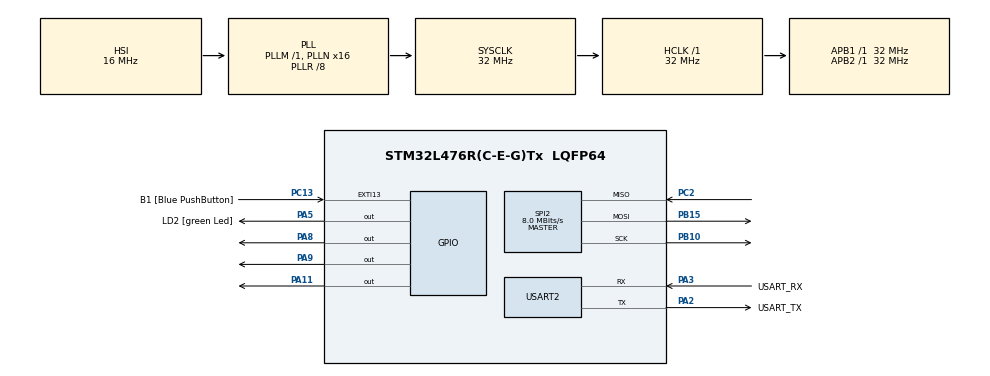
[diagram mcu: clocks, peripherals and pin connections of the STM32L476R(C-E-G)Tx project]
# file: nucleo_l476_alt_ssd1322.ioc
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Mcu.Family=STM32L4
Mcu.Name=STM32L476R(C-E-G)Tx
Mcu.Package=LQFP64
NVIC.PriorityGroup=NVIC_PRIORITYGROUP_4
NVIC.SPI2_IRQn=true\:4\:0\:true\:false\:true\:true\:true\:true
NVIC.TIM1_UP_TIM16_IRQn=true\:15\:0\:false\:false\:true\:false\:true\:true
NVIC.TimeBase=TIM1_UP_TIM16_IRQn
NVIC.TimeBaseIP=TIM16
PA11.Signal=GPIO_Output
PA13\ (JTMS-SWDIO).GPIO_Label=TMS
PA13\ (JTMS-SWDIO).Mode=Serial_Wire
PA13\ (JTMS-SWDIO).Signal=SYS_JTMS-SWDIO
PA14\ (JTCK-SWCLK).GPIO_Label=TCK
PA14\ (JTCK-SWCLK).Mode=Serial_Wire
PA14\ (JTCK-SWCLK).Signal=SYS_JTCK-SWCLK
PA2.GPIO_Label=USART_TX
PA2.GPIO_Mode=GPIO_MODE_AF_PP
PA2.GPIO_PuPd=GPIO_NOPULL
PA2.GPIO_Speed=GPIO_SPEED_FREQ_VERY_HIGH
PA2.Mode=Asynchronous
PA2.Signal=USART2_TX
PA3.GPIO_Label=USART_RX
PA3.GPIO_Mode=GPIO_MODE_AF_PP
PA3.GPIO_PuPd=GPIO_NOPULL
PA3.GPIO_Speed=GPIO_SPEED_FREQ_VERY_HIGH
PA3.Mode=Asynchronous
PA3.Signal=USART2_RX
PA5.GPIO_Label=LD2 [green Led]
PA5.GPIO_ModeDefaultOutputPP=GPIO_MODE_OUTPUT_PP
PA5.GPIO_PuPd=GPIO_NOPULL
PA5.GPIO_Speed=GPIO_SPEED_FREQ_LOW
PA5.Signal=GPIO_Output
PA8.Signal=GPIO_Output
PA9.Signal=GPIO_Output
PB10.Mode=Full_Duplex_Master
PB10.Signal=SPI2_SCK
PB15.Mode=Full_Duplex_Master
PB15.Signal=SPI2_MOSI
PB3\ (JTDO-TRACESWO).GPIO_Label=SWO
PB3\ (JTDO-TRACESWO).Signal=SYS_JTDO-SWO
PC13.GPIO_Label=B1 [Blue PushButton]
PC13.GPIO_ModeDefaultEXTI=GPIO_MODE_IT_FALLING
PC13.GPIO_PuPd=GPIO_NOPULL
PC13.Signal=GPXTI13
PC14-OSC32_IN\ (PC14).Mode=LSE-External-Oscillator
PC14-OSC32_IN\ (PC14).Signal=RCC_OSC32_IN
PC15-OSC32_OUT\ (PC15).Mode=LSE-External-Oscillator
PC15-OSC32_OUT\ (PC15).Signal=RCC_OSC32_OUT
PC2.Mode=Full_Duplex_Master
PC2.Signal=SPI2_MISO
PH0-OSC_IN\ (PH0).Signal=RCC_OSC_IN
PH1-OSC_OUT\ (PH1).Signal=RCC_OSC_OUT
ProjectManager.HeapSize=0x200
ProjectManager.StackSize=0x400
ProjectManager.TargetToolchain=STM32CubeIDE
RCC.ADCFreq_Value=64000000
RCC.AHBFreq_Value=32000000
RCC.APB1Freq_Value=32000000
RCC.APB1TimFreq_Value=32000000
RCC.APB2Freq_Value=32000000
RCC.APB2TimFreq_Value=32000000
RCC.CortexFreq_Value=32000000
RCC.HCLKFreq_Value=32000000
RCC.HSE_VALUE=8000000
RCC.HSI_VALUE=16000000
RCC.MSI_VALUE=4000000
RCC.PLLN=16
RCC.PLLR=RCC_PLLR_DIV8
RCC.PLLSourceVirtual=RCC_PLLSOURCE_HSI
RCC.PREFETCH_ENABLE=1
RCC.SYSCLKFreq_VALUE=32000000
RCC.SYSCLKSource=RCC_SYSCLKSOURCE_PLLCLK
RCC.USBFreq_Value=64000000
RCC.VCOOutputFreq_Value=256000000
SPI2.BaudRatePrescaler=SPI_BAUDRATEPRESCALER_4
SPI2.CalculateBaudRate=8.0 MBits/s
SPI2.DataSize=SPI_DATASIZE_8BIT
SPI2.Direction=SPI_DIRECTION_2LINES
SPI2.Mode=SPI_MODE_MASTER
SPI2.NSSPMode=SPI_NSS_PULSE_DISABLE
SPI2.VirtualType=VM_MASTER
USART2.VirtualMode-Asynchronous=VM_ASYNC
VP_SYS_VS_tim16.Mode=TIM16
board=NUCLEO-L476RG

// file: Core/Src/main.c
/* USER CODE BEGIN Header */
/**
  ******************************************************************************
  * @file           : main.c
  * @brief          : Main program body
  ******************************************************************************
  * @attention
  *
  * Copyright (c) 2022 STMicroelectronics.
  * All rights reserved.
  *
  * This software is licensed under terms that can be found in the LICENSE file
  * in the root directory of this software component.
  * If no LICENSE file comes with this software, it is provided AS-IS.
  *
  ******************************************************************************
  */
/* USER CODE END Header */
#include "main.h"

/* USER CODE BEGIN Includes */
#include "SSD1322_OLED_lib/SSD1322_HW_Driver.h"
#include "SSD1322_OLED_lib/SSD1322_API.h"
#include "SSD1322_OLED_lib/SSD1322_GFX.h"

#include "SSD1322_OLED_lib/Fonts/FreeMono12pt7b.h"
#include "SSD1322_OLED_lib/Fonts/FreeSansOblique9pt7b.h"

#include "tom_and_jerry.h"
#include "creeper.h"
#include "krecik.h"
#include "pat_i_mat.h"
#include "stars_4bpp.h"
/* USER CODE END Includes */

 SPI_HandleTypeDef hspi2;

UART_HandleTypeDef huart2;

/* USER CODE BEGIN PV */

volatile uint8_t OLED_SPI_TX_completed_flag = 1;
extern TaskHandle_t  oled_task;
uint8_t tx_buf[256 * 64 / 2];
uint8_t tx_buf2[256*256 / 2];
/* USER CODE END PV */

void SystemClock_Config(void);
static void MX_GPIO_Init(void);
static void MX_USART2_UART_Init(void);
static void MX_SPI2_Init(void);

/* USER CODE BEGIN 0 */

void oled_test_task(void* par){
//	vTaskDelay(2000/portTICK_PERIOD_MS);
	for(;;){
		//Set frame buffer size in pixels - it is used to avoid writing to memory outside frame buffer
		//Normally it has to only be done once on initialization, but buffer size is changed near the end of while(1);.
		set_buffer_size(256, 64);
		// Fill buffer with zeros to clear any garbage values
		fill_buffer(tx_buf, 0);

		// send a frame buffer to the display
		send_buffer_to_OLED(tx_buf, 0, 0);
		SSD1322_HW_msDelay(2000);

		// Let's try some features of this OLED display

		// First, draw some pixels on frame buffer
		// draw_pixel(frame_buffer, x, y, brightness);
		draw_pixel(tx_buf, 10, 10, 1);
		draw_pixel(tx_buf, 15, 15, 5);
		draw_pixel(tx_buf, 20, 20, 9);
		draw_pixel(tx_buf, 25, 25, 15);

		// send a frame buffer to the display
		send_buffer_to_OLED(tx_buf, 0, 0);
		SSD1322_HW_msDelay(2000);

		// draw vertical and horizontal lines
		draw_hline(tx_buf, 31, 20, 50, 10);
		draw_vline(tx_buf, 31, 0, 31, 10);

		// send a frame buffer to the display
		send_buffer_to_OLED(tx_buf, 0, 0);
		SSD1322_HW_msDelay(2000);

		// draw simple oblique line
		draw_line(tx_buf, 40, 0, 80, 31, 12);
		// send a frame buffer to the display
		send_buffer_to_OLED(tx_buf, 0, 0);
		SSD1322_HW_msDelay(2000);

		// draw antialiased oblique line. It should appear softer and nicer than a simple one
		draw_AA_line(tx_buf, 50, 0, 90, 31, 12);
		// send a frame buffer to the display
		send_buffer_to_OLED(tx_buf, 0, 0);
		SSD1322_HW_msDelay(2000);

		//draw circle, empty rectangle and filled rectangle
		draw_circle(tx_buf, 180, 20, 20, 15);
		draw_rect(tx_buf, 100, 5, 120, 25, 15);
		draw_rect_filled(tx_buf, 124, 5, 144, 25, 8);
		// send a frame buffer to the display
		send_buffer_to_OLED(tx_buf, 0, 0);
		SSD1322_HW_msDelay(2000);

		//clean buffer
		fill_buffer(tx_buf, 0);

		//display 8-bit grayscale bitmap (ony first 4 bits are actually written to memory)
		draw_bitmap_8bpp(tx_buf, pat_i_mat, 0, 0, 64, 64);
		draw_bitmap_8bpp(tx_buf, krecik, 128, 0, 64, 64);
		// send a frame buffer to the display
		send_buffer_to_OLED(tx_buf, 0, 0);
		SSD1322_HW_msDelay(5000);

		//display 4-bit grayscale bitmap (one byte in bitmap array corresponds to two pixels)
		draw_bitmap_4bpp(tx_buf, stars_4bpp, 0, 0, 256, 64);
		send_buffer_to_OLED(tx_buf, 0, 0);
		SSD1322_HW_msDelay(3000);

		//you can invert screen colors using API function
		SSD1322_API_set_display_mode(SSD1322_MODE_INVERTED);
		SSD1322_HW_msDelay(2000);
		//pixels can be also turned on or off
		SSD1322_API_set_display_mode(SSD1322_MODE_ON);
		SSD1322_HW_msDelay(1000);
		SSD1322_API_set_display_mode(SSD1322_MODE_OFF);
		SSD1322_HW_msDelay(1000);
		//ok, go back to normal
		SSD1322_API_set_display_mode(SSD1322_MODE_NORMAL);
		SSD1322_HW_msDelay(500);

		//exact grayscale values can be set individually for each level from 0 to 15 - always send 16 byte array of values 0-180
		uint8_t grayscale_tab[16] = {0, 5, 10, 15, 20, 25, 30, 35, 145, 150, 155, 160, 165, 170, 175, 180};
		SSD1322_API_custom_grayscale(grayscale_tab);
		SSD1322_HW_msDelay(2000);
		//New grayscale values should be close to black in darker areas and close to white in brighter

		//reset grayscale to default linear values
		SSD1322_API_default_grayscale();
		SSD1322_HW_msDelay(2000);

		//display can be set to sleep mode and then woken up
		SSD1322_API_sleep_on();
		SSD1322_HW_msDelay(1000);
		SSD1322_API_sleep_off();

		//clean buffer
		fill_buffer(tx_buf, 0);

		// now let's try to write some text with a font
		// first thing to do is font selection
		select_font(&FreeMono12pt7b);
		// now text will we written with that font
		draw_text(tx_buf, "Lorem ipsum", 10, 20, 15);
		// send a frame buffer to the display
		send_buffer_to_OLED(tx_buf, 0, 0);
		SSD1322_HW_msDelay(2000);

		//change font to a differen one
		select_font(&FreeSansOblique9pt7b);
		draw_text(tx_buf, "dolor sit amet", 10, 45, 15);
		// send a frame buffer to the display
		send_buffer_to_OLED(tx_buf, 0, 0);
		SSD1322_HW_msDelay(2000);

		//you can use frame buffer that is bigger than default 256x64 pixels.
		//Remember to divide size by two, because one byte stores two pixels.

		set_buffer_size(256, 256);

		//now print a huge bitmap into frame buffer
		draw_bitmap_8bpp(tx_buf2, creeper, 0, 0, 256, 256);
		send_buffer_to_OLED(tx_buf2, 0, 0);
		SSD1322_HW_msDelay(2000);

		//only 1/4 of image is seen, so let's scroll the frame buffer down
		for(int i = 0; i < 192; i++)
		{
			send_buffer_to_OLED(tx_buf2, 0, i);
			SSD1322_HW_msDelay(5);
		}
		SSD1322_HW_msDelay(200);
		for (int i = 191; i >= 0; i--)
		{
			send_buffer_to_OLED(tx_buf2, 0, i);
			SSD1322_HW_msDelay(5);
		}
		SSD1322_HW_msDelay(2000);
	}
}
/* USER CODE END 0 */

int main(void)
{

  /* MCU Configuration--------------------------------------------------------*/

  /* Reset of all peripherals, Initializes the Flash interface and the Systick. */
  HAL_Init();

  /* Configure the system clock */
  SystemClock_Config();

  /* Initialize all configured peripherals */
  MX_GPIO_Init();
  MX_USART2_UART_Init();
  MX_SPI2_Init();
  /* USER CODE BEGIN 2 */

  __HAL_RCC_SPI2_CLK_ENABLE();

  __HAL_RCC_GPIOC_CLK_ENABLE();
  __HAL_RCC_GPIOB_CLK_ENABLE();
  /**SPI2 GPIO Configuration
  PC2     ------> SPI2_MISO
  PB10     ------> SPI2_SCK
  PB15     ------> SPI2_MOSI
  */
  GPIO_InitTypeDef GPIO_InitStruct = {0};
  GPIO_InitStruct.Pin = GPIO_PIN_2;
  GPIO_InitStruct.Mode = GPIO_MODE_AF_PP;
  GPIO_InitStruct.Pull = GPIO_NOPULL;
  GPIO_InitStruct.Speed = GPIO_SPEED_FREQ_VERY_HIGH;
  GPIO_InitStruct.Alternate = GPIO_AF5_SPI2;
  HAL_GPIO_Init(GPIOC, &GPIO_InitStruct);

  GPIO_InitStruct.Pin = GPIO_PIN_10|GPIO_PIN_15;
  GPIO_InitStruct.Mode = GPIO_MODE_AF_PP;
  GPIO_InitStruct.Pull = GPIO_NOPULL;
  GPIO_InitStruct.Speed = GPIO_SPEED_FREQ_VERY_HIGH;
  GPIO_InitStruct.Alternate = GPIO_AF5_SPI2;
  HAL_GPIO_Init(GPIOB, &GPIO_InitStruct);
/*
  SPI2->CR1 = 0<<SPI_CR1_CRCL_Pos  //Размер кадра 8 бит
      | 0<<SPI_CR1_LSBFIRST_Pos     //MSB first
      | 1<<SPI_CR1_SSM_Pos          //Программное управление SS
      | 1<<SPI_CR1_SSI_Pos          //SS в высоком состоянии
      | 0x04<<SPI_CR1_BR_Pos        //Скорость передачи: F_PCLK/32
      | 1<<SPI_CR1_MSTR_Pos         //Режим Master (ведущий)
      | 0<<SPI_CR1_CPOL_Pos | 0<<SPI_CR1_CPHA_Pos; //Режим работы SPI: 0

  HAL_NVIC_SetPriority(SPI2_IRQn, 6, 0);
    NVIC_EnableIRQ(SPI2_IRQn); //Разрешаем прерывания от SPI1

    SPI2->CR1 |= 1<<SPI_CR1_SPE_Pos; //Включаем SPI
*/
  SSD1322_API_init();

	set_buffer_size(256, 64);
	// Fill buffer with zeros to clear any garbage values
	fill_buffer(tx_buf, 0);

	// send a frame buffer to the display
	send_buffer_to_OLED(tx_buf, 0, 0);
	HAL_Delay(2000);

	// Let's try some features of this OLED display

	// First, draw some pixels on frame buffer
	// draw_pixel(frame_buffer, x, y, brightness);
	draw_pixel(tx_buf, 10, 10, 1);
	draw_pixel(tx_buf, 15, 15, 5);
	draw_pixel(tx_buf, 20, 20, 9);
	draw_pixel(tx_buf, 25, 25, 15);

	xTaskCreate(oled_test_task, NULL, 2048, (void*)1, tskIDLE_PRIORITY+1, NULL);
	vTaskStartScheduler();
  /* USER CODE END 2 */

  /* Infinite loop */
  while (1)
  {

  }
}

void SystemClock_Config(void)
{
  RCC_OscInitTypeDef RCC_OscInitStruct = {0};
  RCC_ClkInitTypeDef RCC_ClkInitStruct = {0};

  /** Configure the main internal regulator output voltage
  */
  if (HAL_PWREx_ControlVoltageScaling(PWR_REGULATOR_VOLTAGE_SCALE1) != HAL_OK)
  {
    Error_Handler();
  }

  /** Initializes the RCC Oscillators according to the specified parameters
  * in the RCC_OscInitTypeDef structure.
  */
  RCC_OscInitStruct.OscillatorType = RCC_OSCILLATORTYPE_HSI;
  RCC_OscInitStruct.HSIState = RCC_HSI_ON;
  RCC_OscInitStruct.HSICalibrationValue = RCC_HSICALIBRATION_DEFAULT;
  RCC_OscInitStruct.PLL.PLLState = RCC_PLL_ON;
  RCC_OscInitStruct.PLL.PLLSource = RCC_PLLSOURCE_HSI;
  RCC_OscInitStruct.PLL.PLLM = 1;
  RCC_OscInitStruct.PLL.PLLN = 16;
  RCC_OscInitStruct.PLL.PLLP = RCC_PLLP_DIV7;
  RCC_OscInitStruct.PLL.PLLQ = RCC_PLLQ_DIV2;
  RCC_OscInitStruct.PLL.PLLR = RCC_PLLR_DIV8;
  if (HAL_RCC_OscConfig(&RCC_OscInitStruct) != HAL_OK)
  {
    Error_Handler();
  }

  /** Initializes the CPU, AHB and APB buses clocks
  */
  RCC_ClkInitStruct.ClockType = RCC_CLOCKTYPE_HCLK|RCC_CLOCKTYPE_SYSCLK
                              |RCC_CLOCKTYPE_PCLK1|RCC_CLOCKTYPE_PCLK2;
  RCC_ClkInitStruct.SYSCLKSource = RCC_SYSCLKSOURCE_PLLCLK;
  RCC_ClkInitStruct.AHBCLKDivider = RCC_SYSCLK_DIV1;
  RCC_ClkInitStruct.APB1CLKDivider = RCC_HCLK_DIV1;
  RCC_ClkInitStruct.APB2CLKDivider = RCC_HCLK_DIV1;

  if (HAL_RCC_ClockConfig(&RCC_ClkInitStruct, FLASH_LATENCY_1) != HAL_OK)
  {
    Error_Handler();
  }
}

static void MX_SPI2_Init(void)
{

  /* SPI2 parameter configuration*/
  hspi2.Instance = SPI2;
  hspi2.Init.Mode = SPI_MODE_MASTER;
  hspi2.Init.Direction = SPI_DIRECTION_2LINES;
  hspi2.Init.DataSize = SPI_DATASIZE_8BIT;
  hspi2.Init.CLKPolarity = SPI_POLARITY_LOW;
  hspi2.Init.CLKPhase = SPI_PHASE_1EDGE;
  hspi2.Init.NSS = SPI_NSS_SOFT;
  hspi2.Init.BaudRatePrescaler = SPI_BAUDRATEPRESCALER_4;
  hspi2.Init.FirstBit = SPI_FIRSTBIT_MSB;
  hspi2.Init.TIMode = SPI_TIMODE_DISABLE;
  hspi2.Init.CRCCalculation = SPI_CRCCALCULATION_DISABLE;
  hspi2.Init.CRCPolynomial = 7;
  hspi2.Init.CRCLength = SPI_CRC_LENGTH_DATASIZE;
  hspi2.Init.NSSPMode = SPI_NSS_PULSE_DISABLE;
  if (HAL_SPI_Init(&hspi2) != HAL_OK)
  {
    Error_Handler();
  }

}

static void MX_USART2_UART_Init(void)
{

  huart2.Instance = USART2;
  huart2.Init.BaudRate = 115200;
  huart2.Init.WordLength = UART_WORDLENGTH_8B;
  huart2.Init.StopBits = UART_STOPBITS_1;
  huart2.Init.Parity = UART_PARITY_NONE;
  huart2.Init.Mode = UART_MODE_TX_RX;
  huart2.Init.HwFlowCtl = UART_HWCONTROL_NONE;
  huart2.Init.OverSampling = UART_OVERSAMPLING_16;
  huart2.Init.OneBitSampling = UART_ONE_BIT_SAMPLE_DISABLE;
  huart2.AdvancedInit.AdvFeatureInit = UART_ADVFEATURE_NO_INIT;
  if (HAL_UART_Init(&huart2) != HAL_OK)
  {
    Error_Handler();
  }

}

static void MX_GPIO_Init(void)
{
  GPIO_InitTypeDef GPIO_InitStruct = {0};

  /* GPIO Ports Clock Enable */
  __HAL_RCC_GPIOC_CLK_ENABLE();
  __HAL_RCC_GPIOH_CLK_ENABLE();
  __HAL_RCC_GPIOA_CLK_ENABLE();
  __HAL_RCC_GPIOB_CLK_ENABLE();

  /*Configure GPIO pin Output Level */
  HAL_GPIO_WritePin(GPIOA, LD2_Pin|GPIO_PIN_8|GPIO_PIN_9|GPIO_PIN_11, GPIO_PIN_RESET);

  /*Configure GPIO pin : B1_Pin */
  GPIO_InitStruct.Pin = B1_Pin;
  GPIO_InitStruct.Mode = GPIO_MODE_IT_FALLING;
  GPIO_InitStruct.Pull = GPIO_NOPULL;
  HAL_GPIO_Init(B1_GPIO_Port, &GPIO_InitStruct);

  /*Configure GPIO pins : LD2_Pin PA8 PA9 PA11 */
  GPIO_InitStruct.Pin = LD2_Pin|GPIO_PIN_8|GPIO_PIN_9|GPIO_PIN_11;
  GPIO_InitStruct.Mode = GPIO_MODE_OUTPUT_PP;
  GPIO_InitStruct.Pull = GPIO_NOPULL;
  GPIO_InitStruct.Speed = GPIO_SPEED_FREQ_LOW;
  HAL_GPIO_Init(GPIOA, &GPIO_InitStruct);

}

void HAL_TIM_PeriodElapsedCallback(TIM_HandleTypeDef *htim)
{
  if (htim->Instance == TIM16) {
    HAL_IncTick();
  }
}

void Error_Handler(void)
{
  __disable_irq();
  while (1)
  {
  }
}
